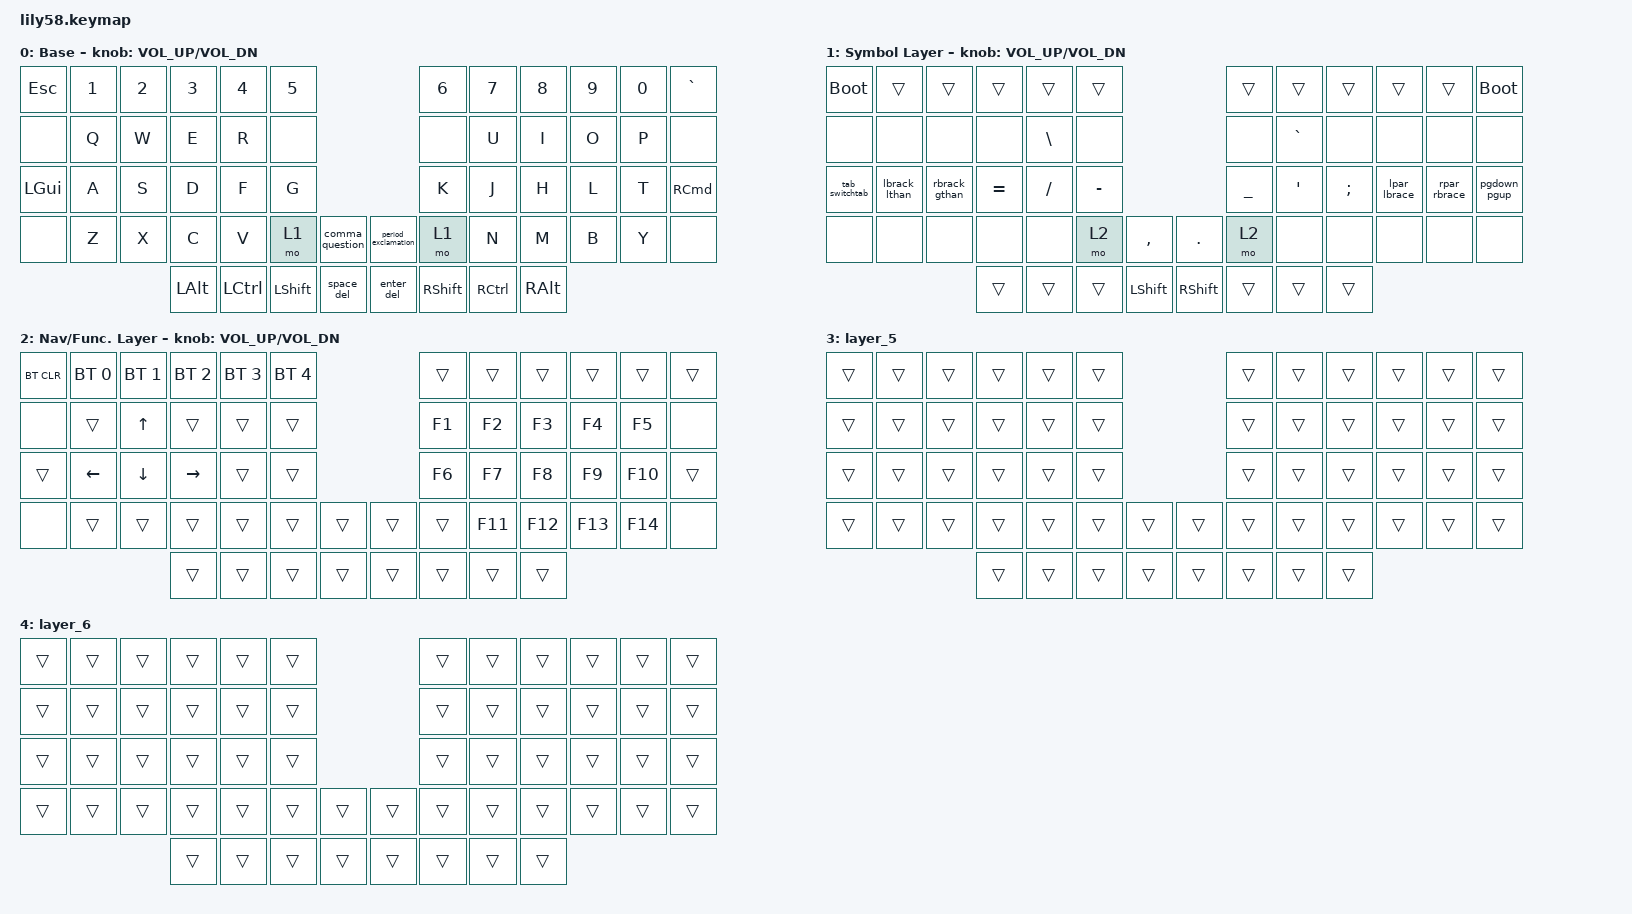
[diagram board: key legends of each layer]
/*
 * Copyright (c) 2020 The ZMK Contributors
 *
 * SPDX-License-Identifier: MIT
 */

#include <behaviors.dtsi>
#include <dt-bindings/zmk/bt.h>
#include <dt-bindings/zmk/keys.h>

/ {
    behaviors {
        comma_question: comma_question {
            compatible = "zmk,behavior-mod-morph";
            label = "comma^question";
            bindings = <&kp COMMA>, <&kp QUESTION>;

            #binding-cells = <0>;
            mods = <(MOD_LSFT|MOD_RSFT)>;
        };

        period_exclamation: period_exclamation {
            compatible = "zmk,behavior-mod-morph";
            label = "period^exclamation";
            bindings = <&kp PERIOD>, <&kp EXCLAMATION>;

            #binding-cells = <0>;
            mods = <(MOD_LSFT|MOD_RSFT)>;
        };

        space_del: space_del {
            compatible = "zmk,behavior-mod-morph";
            label = "SPACE_DEL";
            bindings = <&kp SPACE>, <&kp BACKSPACE>;

            #binding-cells = <0>;
            mods = <(MOD_LSFT|MOD_RSFT)>;
        };

        pgdown_pgup: pgdown_pgup {
            compatible = "zmk,behavior-mod-morph";
            label = "PGDOWN_PGUP";
            bindings = <&kp PAGE_DOWN>, <&kp PAGE_UP>;

            #binding-cells = <0>;
            mods = <(MOD_LSFT|MOD_RSFT)>;
        };

        enter_del: enter_del {
            compatible = "zmk,behavior-mod-morph";
            label = "ENTER_DEL";
            bindings = <&kp ENTER>, <&kp BACKSPACE>;

            #binding-cells = <0>;
            mods = <(MOD_LSFT|MOD_RSFT)>;
        };

        switchtab: switchtab {
            compatible = "zmk,behavior-mod-morph";
            label = "SWITCHTAB";
            bindings = <&kp TAB>, <&kp TAB>;

            #binding-cells = <0>;
            mods = <(MOD_LGUI)>;
            keep-mods = <(MOD_LCTL|MOD_LALT)>;
        };

        tab_switchtab: tab_switchtab {
            compatible = "zmk,behavior-mod-morph";
            label = "TAB_SWITCHTAB";
            bindings = <&kp TAB>, <&switchtab>;

            #binding-cells = <0>;
            mods = <(MOD_LSFT|MOD_RSFT)>;
        };

        lpar_lbrace: lpar_lbrace {
            compatible = "zmk,behavior-mod-morph";
            label = "LPAR_LBRACE";
            bindings = <&kp LEFT_PARENTHESIS>, <&kp LEFT_BRACE>;

            #binding-cells = <0>;
            mods = <(MOD_LSFT|MOD_RSFT)>;
        };

        rpar_rbrace: rpar_rbrace {
            compatible = "zmk,behavior-mod-morph";
            label = "RPAR_RBRACE";
            bindings = <&kp RIGHT_PARENTHESIS>, <&kp RIGHT_BRACE>;

            #binding-cells = <0>;
            mods = <(MOD_LSFT|MOD_RSFT)>;
        };

        lbrack_lthan: lbrack_lthan {
            compatible = "zmk,behavior-mod-morph";
            label = "LBRACK_LTHAN";
            bindings = <&kp LEFT_BRACKET>, <&kp LESS_THAN>;

            #binding-cells = <0>;
            mods = <(MOD_LSFT|MOD_RSFT)>;
        };

        rbrack_gthan: rbrack_gthan {
            compatible = "zmk,behavior-mod-morph";
            label = "RBRACK_GTHAN";
            bindings = <&kp RIGHT_BRACKET>, <&kp GREATER_THAN>;

            #binding-cells = <0>;
            mods = <(MOD_LSFT|MOD_RSFT)>;
        };
    };

    keymap {
        compatible = "zmk,keymap";

        default_layer {
            // ------------------------------------------------------------------------------------------------------------
            // |  ESC  |  1  |  2  |  3   |  4   |  5   |                   |  6   |  7    |  8    |  9   |   0   |   `   |
            // |  TAB  |  Q  |  W  |  E   |  R   |  T   |                   |  Y   |  U    |  I    |  O   |   P   |   -   |
            // |  CTRL |  A  |  S  |  D   |  F   |  G   |                   |  H   |  J    |  K    |  L   |   ;   |   '   |
            // | SHIFT |  Z  |  X  |  C   |  V   |  B   |   "["  |  |  "]"  |  N   |  M    |  ,    |  .   |   /   | SHIFT |
            //                     | ALT  | GUI  | LOWER|  SPACE |  | ENTER | RAISE| BSPC  | GUI   |

            display-name = "Base";
            bindings = <
&kp ESC       &kp N1  &kp N2  &kp N3        &kp N4            &kp N5                                                  &kp N6           &kp N7             &kp N8         &kp N9  &kp N0  &kp GRAVE
&none         &kp Q   &kp W   &kp E         &kp R             &none                                                   &none            &kp U              &kp I          &kp O   &kp P   &none
&kp LEFT_GUI  &kp A   &kp S   &kp D         &kp F             &kp G                                                   &kp K            &kp J              &kp H          &kp L   &kp T   &kp RIGHT_COMMAND
&none         &kp Z   &kp X   &kp C         &kp V             &mo 1           &comma_question    &period_exclamation  &mo 1            &kp N              &kp M          &kp B   &kp Y   &none
                              &kp LEFT_ALT  &kp LEFT_CONTROL  &kp LEFT_SHIFT  &space_del         &enter_del           &kp RIGHT_SHIFT  &kp RIGHT_CONTROL  &kp RIGHT_ALT
            >;

            sensor-bindings = <&inc_dec_kp C_VOL_UP C_VOL_DN>;
        };

        symbol_layer {
            // ------------------------------------------------------------------------------------------------------------
            // | BTCLR | BT1 | BT2 |  BT3 |  BT4 |  BT5 |                   |      |       |       |      |       |       |
            // |  F1   |  F2 |  F3 |  F4  |  F5  |  F6  |                   |  F7  |  F8   |  F9   |  F10 |  F11  |  F12  |
            // |   `   |  !  |  @  |  #   |  $   |  %   |                   |  ^   |  &    |  *    |  (   |   )   |   ~   |
            // |       |     |     |      |      |      |        |  |       |      |  _    |  +    |  {   |   }   |  "|"  |
            //                     |      |      |      |        |  |       |      |       |       |

            display-name = "Symbol Layer";
            bindings = <
&bootloader     &trans         &trans         &trans     &trans         &trans                                        &trans     &trans            &trans         &trans        &trans        &bootloader
&none           &none          &none          &none      &kp BACKSLASH  &none                                         &none      &kp GRAVE         &none          &none         &none         &none
&tab_switchtab  &lbrack_lthan  &rbrack_gthan  &kp EQUAL  &kp SLASH      &kp MINUS                                     &kp UNDER  &kp SINGLE_QUOTE  &kp SEMICOLON  &lpar_lbrace  &rpar_rbrace  &pgdown_pgup
&none           &none          &none          &none      &none          &mo 2      &kp COMMA         &kp PERIOD       &mo 2      &none             &none          &none         &none         &none
                                              &trans     &trans         &trans     &kp LEFT_SHIFT    &kp RIGHT_SHIFT  &trans     &trans            &trans
            >;

            sensor-bindings = <&inc_dec_kp C_VOL_UP C_VOL_DN>;
        };

        fn_nav_layer {
            // ------------------------------------------------------------------------------------------------------------
            // |       |     |     |      |      |      |                   |      |       |       |      |       |       |
            // |   `   |  1  |  2  |  3   |  4   |  5   |                   |  6   |   7   |   8   |  9   |   0   |       |
            // |   F1  |  F2 |  F3 |  F4  |  F5  |  F6  |                   |      |   <-  |   v   |  ^   |  ->   |       |
            // |   F7  |  F8 |  F9 |  F10 |  F11 |  F12 |        |  |       |  +   |   -   |   =   |  [   |   ]   |   \   |
            //                     |      |      |      |        |  |       |      |       |       |

            display-name = "Nav/Func. Layer";
            bindings = <
&bt BT_CLR  &bt BT_SEL 0  &bt BT_SEL 1  &bt BT_SEL 2  &bt BT_SEL 3  &bt BT_SEL 4                    &trans  &trans   &trans   &trans   &trans   &trans
&none       &trans        &kp UP        &trans        &trans        &trans                          &kp F1  &kp F2   &kp F3   &kp F4   &kp F5   &none
&trans      &kp LEFT      &kp DOWN      &kp RIGHT     &trans        &trans                          &kp F6  &kp F7   &kp F8   &kp F9   &kp F10  &trans
&none       &trans        &trans        &trans        &trans        &trans        &trans    &trans  &trans  &kp F11  &kp F12  &kp F13  &kp F14  &none
                                        &trans        &trans        &trans        &trans    &trans  &trans  &trans   &trans
            >;

            sensor-bindings = <&inc_dec_kp C_VOL_UP C_VOL_DN>;
        };

        layer_5 {
            bindings = <
&trans  &trans  &trans  &trans  &trans  &trans                    &trans  &trans  &trans  &trans  &trans  &trans
&trans  &trans  &trans  &trans  &trans  &trans                    &trans  &trans  &trans  &trans  &trans  &trans
&trans  &trans  &trans  &trans  &trans  &trans                    &trans  &trans  &trans  &trans  &trans  &trans
&trans  &trans  &trans  &trans  &trans  &trans  &trans    &trans  &trans  &trans  &trans  &trans  &trans  &trans
                        &trans  &trans  &trans  &trans    &trans  &trans  &trans  &trans
            >;
        };

        layer_6 {
            bindings = <
&trans  &trans  &trans  &trans  &trans  &trans                    &trans  &trans  &trans  &trans  &trans  &trans
&trans  &trans  &trans  &trans  &trans  &trans                    &trans  &trans  &trans  &trans  &trans  &trans
&trans  &trans  &trans  &trans  &trans  &trans                    &trans  &trans  &trans  &trans  &trans  &trans
&trans  &trans  &trans  &trans  &trans  &trans  &trans    &trans  &trans  &trans  &trans  &trans  &trans  &trans
                        &trans  &trans  &trans  &trans    &trans  &trans  &trans  &trans
            >;
        };
    };
};
